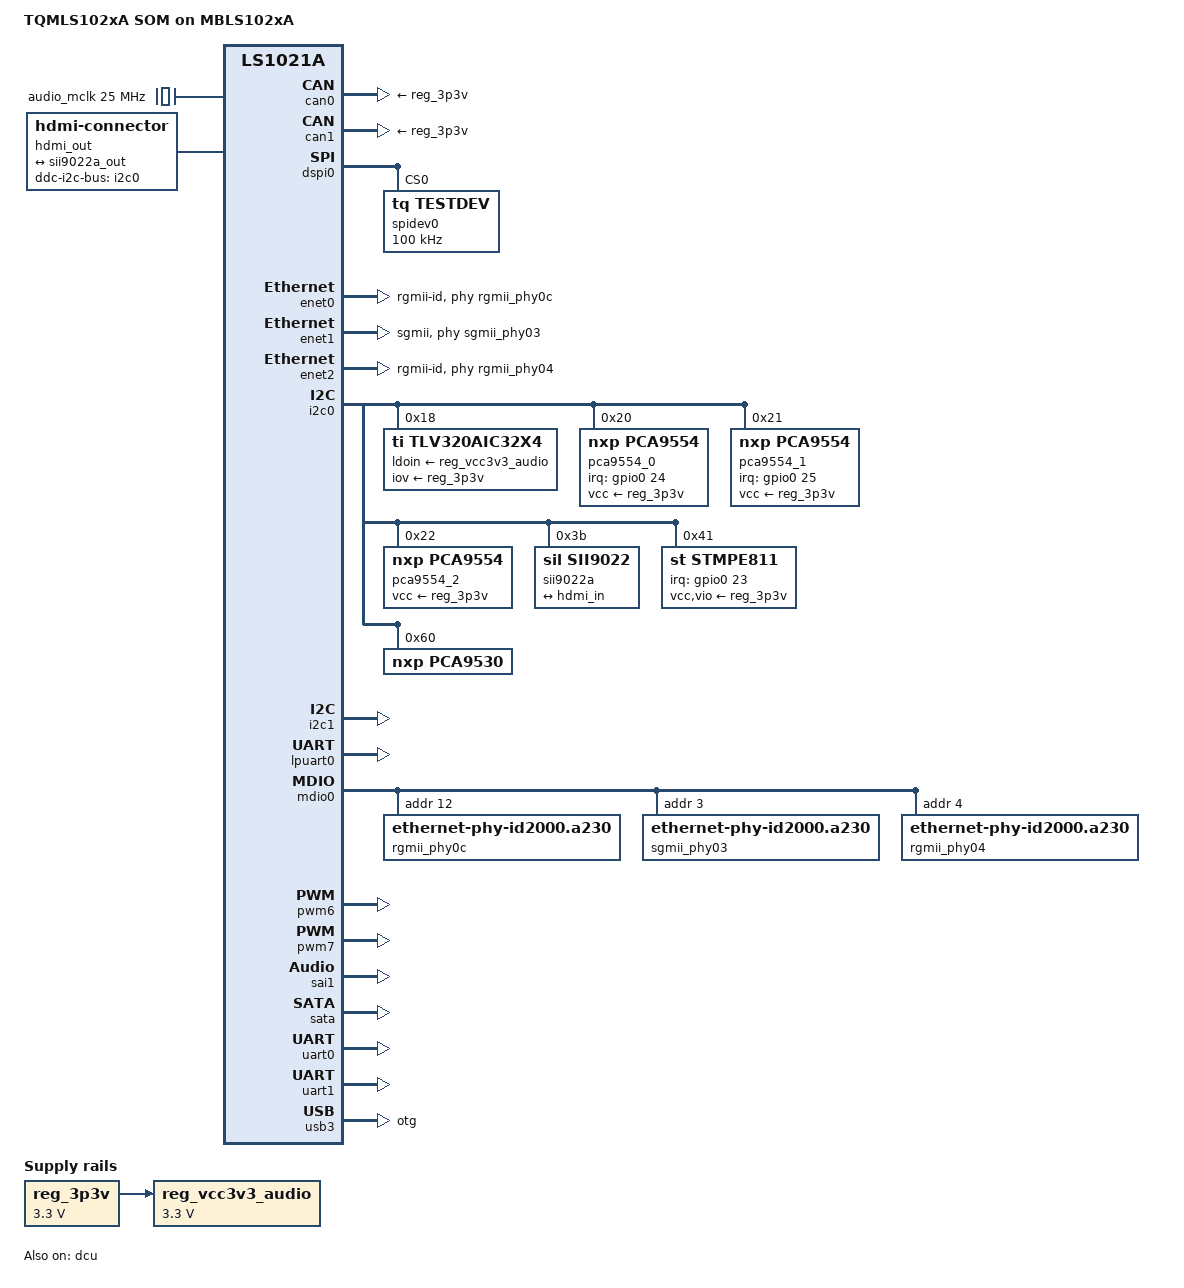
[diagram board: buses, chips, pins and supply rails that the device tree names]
// SPDX-License-Identifier: (GPL-2.0-or-later OR X11)
/*
 * Copyright 2013-2014 Freescale Semiconductor, Inc.
 * Copyright 2018-2020 TQ-Systems GmbH
 */

#include <dt-bindings/gpio/gpio.h>
#include <dt-bindings/leds/leds-pca9532.h>
#include <dt-bindings/net/ti-dp83867.h>
#include "ls1021a-tqmls1021a.dtsi"

/ {
	model = "TQMLS102xA SOM on MBLS102xA";
	compatible = "tq,ls1021a-mbls102xa", "tq,ls1021a-tqmls1021a", "fsl,ls1021a";

	aliases {
		enet0_rgmii_phy = &rgmii_phy0c;
		enet1_sgmii_phy = &sgmii_phy03;
		enet2_rgmii_phy = &rgmii_phy04;
	};

	clocks {
		audio_mclk: clock {
			compatible = "fixed-clock";
			#clock-cells = <0>;
			clock-frequency = <25000000>;
		};
	};

	reg_3p3v: regulator-3p3v {
		compatible = "regulator-fixed";
		regulator-name = "3P3V";
		regulator-min-microvolt = <3300000>;
		regulator-max-microvolt = <3300000>;
		regulator-always-on;
	};

	reg_vcc3v3_audio: regulator-vcc3v3-audio {
		compatible = "regulator-fixed";
		regulator-name = "vcc3v3-audio";
		regulator-min-microvolt = <3300000>;
		regulator-max-microvolt = <3300000>;
		vin-supply = <&reg_3p3v>;
	};

	backlight_dcu: backlight {
		compatible = "gpio-backlight";
		gpios = <&pca9530 0 GPIO_ACTIVE_LOW>; /* PWM_0 */
		default-on;
		status = "disabled";
	};

	hdmi_out: hdmi {
		compatible = "hdmi-connector";
		type = "a";
		ddc-i2c-bus = <&i2c0>;

		port {
			hdmi_in: endpoint {
				remote-endpoint = <&sii9022a_out>;
			};
		};
	};

	display: panel {
		backlight = <&backlight_dcu>;
		enable-gpios = <&pca9554_1 3 GPIO_ACTIVE_HIGH>; /* LCD_BLT_EN */

		port {
			panel_in: endpoint {};
		};
	};

	sound {
		compatible = "fsl,ls1021a-mbls1021a-tlv320aic32x4",
			     "fsl,imx-audio-tlv320aic32x4";
		model = "ls1021a-mbls1021a-tlv320aic32";
		ssi-controller = <&sai1>;
		audio-codec = <&tlv320aic32x4>;
	};

};

&can0 {
	status = "okay";
	xceiver-supply = <&reg_3p3v>;
};

&can1 {
	status = "okay";
	xceiver-supply = <&reg_3p3v>;
};

&can2 {
	status = "disabled";
};

&can3 {
	status = "disabled";
};

/* Temperature trip point references:
 * Values copied from ls1021a.dtsi.
 * Please change according to any custom requirements.
 */
&cpu_alert {
	temperature = <85000>;
};

&cpu_crit {
	temperature = <95000>;
};

&dcu {
	status = "okay";

	port {
		#address-cells = <1>;
		#size-cells = <0>;

		dcu_out: endpoint@0 {
			reg = <0>;
			/* remote-endpoint set by top dt fragment */
		};
	};
};

&dspi0 {
	bus-num = <0>;
	status = "okay";

	spidev0: spidev@0 {
		compatible = "tq,testdev";
		reg = <0>;
		spi-max-frequency = <100000>;
	};
};

&enet0 {
	phy-handle = <&rgmii_phy0c>;
	phy-mode = "rgmii-id";
	mac-address = [ 00 00 00 00 00 00 ];
	status = "okay";
};

&enet1 {
	tbi-handle = <&tbi1>;
	phy-handle = <&sgmii_phy03>;
	phy-mode = "sgmii";
	mac-address = [ 00 00 00 00 00 00 ];
	status = "okay";
};

&enet2 {
	phy-handle = <&rgmii_phy04>;
	phy-mode = "rgmii-id";
	mac-address = [ 00 00 00 00 00 00 ];
	status = "okay";
};

&i2c0 {
	status = "okay";

	tlv320aic32x4: codec@18 {
		compatible = "ti,tlv320aic32x4";
		reg = <0x18>;
		clocks = <&audio_mclk>;
		clock-names = "mclk";
		ldoin-supply = <&reg_vcc3v3_audio>;
		iov-supply = <&reg_3p3v>;
	};

	pca9554_0: gpio-expander@20 {
		compatible = "nxp,pca9554";
		reg = <0x20>;

		interrupt-parent = <&gpio0>;
		interrupts = <24 IRQ_TYPE_EDGE_FALLING>;

		interrupt-controller;
		#interrupt-cells = <2>;

		gpio-controller;
		#gpio-cells = <2>;

		vcc-supply = <&reg_3p3v>;

		status = "okay";
	};

	pca9554_1: gpio-expander@21 {
		compatible = "nxp,pca9554";
		reg = <0x21>;

		interrupt-parent = <&gpio0>;
		interrupts = <25 IRQ_TYPE_EDGE_FALLING>;

		interrupt-controller;
		#interrupt-cells = <2>;

		gpio-controller;
		#gpio-cells = <2>;

		vcc-supply = <&reg_3p3v>;

		status = "okay";
	};

	pca9554_2: gpio-expander@22 {
		compatible = "nxp,pca9554";
		reg = <0x22>;

		gpio-controller;
		#gpio-cells = <2>;

		vcc-supply = <&reg_3p3v>;

		status = "okay";
	};

	polytouch: touchscreen@38 {
		compatible = "edt,edt-ft5406", "edt,edt-ft5x06";
		reg = <0x38>;
		interrupt-parent = <&pca9554_0>;
		interrupts = <6 IRQ_TYPE_EDGE_FALLING>;
		/* LCD_PWR_EN -> TSC_WAKE */
		wake-gpios = <&pca9554_1 4 GPIO_ACTIVE_HIGH>;
		status = "disabled";
	};

	sii9022a: hdmi-transmitter@3b {
		compatible = "sil,sii9022";
		reg = <0x3b>;
		interrupts = <GIC_SPI 167 IRQ_TYPE_EDGE_RISING>;

		ports {
			#address-cells = <1>;
			#size-cells = <0>;

			port@0 {
				reg = <0>;
				sii9022a_in: endpoint {
				};
			};

			port@1 {
				reg = <1>;
				sii9022a_out: endpoint {
					remote-endpoint = <&hdmi_in>;
				};
			};
		};
	};

	stmpe811: touchscreen@41 {
		compatible = "st,stmpe811";
		reg = <0x41>;
		#address-cells = <1>;
		#size-cells = <0>;

		interrupt-parent = <&gpio0>;
		interrupts = <23 IRQ_TYPE_EDGE_FALLING>;

		vcc-supply = <&reg_3p3v>;
		vio-supply = <&reg_3p3v>;

		status = "okay";

		stmpe_gpio {
			compatible = "stmpe,gpio";
			gpio-controller;
			#gpio-cells = <2>;
			gpio,norequest-mask = <0xF0>;
		};

		stmpe_touchscreen {
			compatible = "stmpe,ts";
/*
 * TODO:
 * this has to be configured per panel
 */
			st,sample-time = <4>;
			st,mod-12b = <1>;
			st,ref-sel = <0>;
			st,adc-freq = <1>;
			st,ave-ctrl = <1>;
			st,touch-det-delay = <3>;
			st,settling = <4>;
			st,fraction-z = <7>;
			st,i-drive = <1>;
		};
	};

	pca9530: gpio-expander@60 {
		compatible = "nxp,pca9530";
		reg = <0x60>;

		gpio-controller;
		#gpio-cells = <2>;

		gpio_pwm_0 {
			label = "pca9530:pwm0";
			type = <PCA9532_TYPE_GPIO>;
		};

		gpio_pwm_1 {
			label = "pca9530:pwm1";
			type = <PCA9532_TYPE_GPIO>;
		};
	};

};

&i2c1 {
	status = "okay";
};

&lpuart0 {
	status = "okay";
	linux,rs485-enabled-at-boot-time;
};

&mdio0 {
	rgmii_phy0c: ethernet-phy@0c {
		compatible = "ethernet-phy-id2000.a230",
			"ethernet-phy-ieee802.3-c22";
		reg = <0x0c>;
		ti,rx-internal-delay = <DP83867_RGMIIDCTL_2_50_NS>;
		ti,tx-internal-delay = <DP83867_RGMIIDCTL_2_00_NS>;
		ti,led-function = <0x6b90>;
		ti,led-ctrl = <0x0000>;
		ti,fifo-depth = <DP83867_PHYCR_FIFO_DEPTH_4_B_NIB>;
	};

	sgmii_phy03: ethernet-phy@03 {
		compatible = "ethernet-phy-id2000.a230",
			"ethernet-phy-ieee802.3-c22";
		reg = <0x03>;
		ti,led-function = <0x6b90>;
		ti,led-ctrl = <0x0000>;
		ti,fifo-depth = <DP83867_PHYCR_FIFO_DEPTH_4_B_NIB>;
		ti,clk-output-sel = <DP83867_CLK_O_SEL_OFF>;
		ti,dp83867-rxctrl-strap-quirk;
	};

	rgmii_phy04: ethernet-phy@04 {
		compatible = "ethernet-phy-id2000.a230",
			"ethernet-phy-ieee802.3-c22";
		reg = <0x04>;
		ti,rx-internal-delay = <DP83867_RGMIIDCTL_2_50_NS>;
		ti,tx-internal-delay = <DP83867_RGMIIDCTL_2_00_NS>;
		ti,led-function = <0x6b90>;
		ti,led-ctrl = <0x0000>;
		ti,fifo-depth = <DP83867_PHYCR_FIFO_DEPTH_4_B_NIB>;
	};
};

&pwm6 {
	status = "okay";
};

&pwm7 {
	status = "okay";
};

&sai1 {
	status = "okay";
};

&sata {
	/delete-property/ dma-coherent;
	status = "okay";
};

&uart0 {
	status = "okay";
};

&uart1 {
	status = "okay";
};

&usb3 {
	dr_mode = "otg";
};
